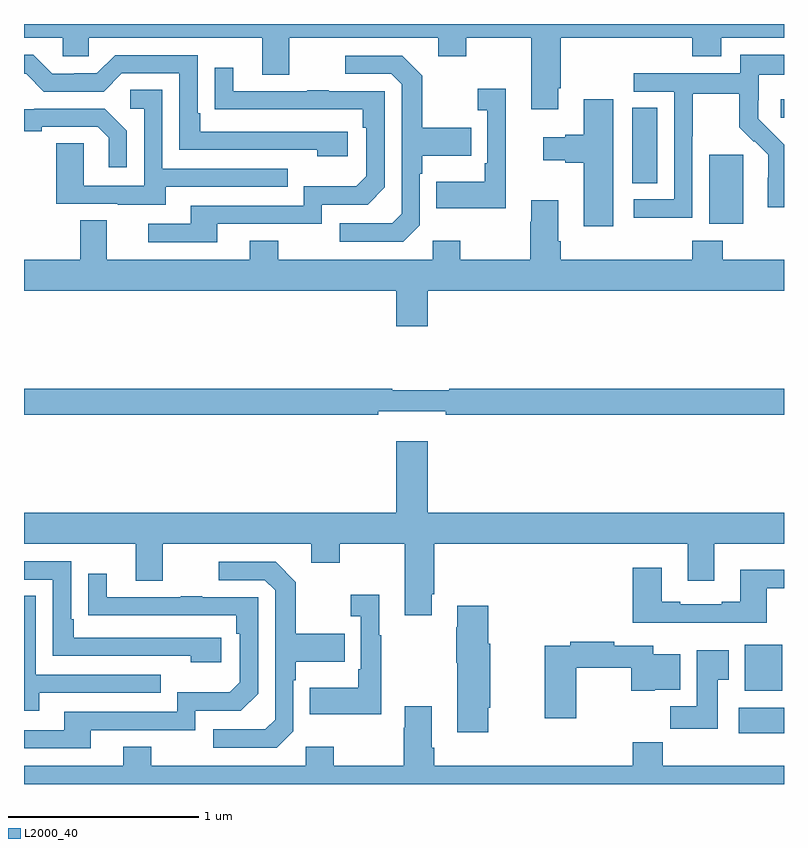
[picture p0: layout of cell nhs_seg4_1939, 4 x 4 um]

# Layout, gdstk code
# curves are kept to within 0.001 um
import gdstk
lib = gdstk.Library(unit=1e-6, precision=1e-09)
def R(c, l, rs):  # rectangles x0, y0, x1, y1
    for r in rs: c.add(gdstk.rectangle(r[:2], r[2:], *l))
def P(c, l, *ps):  # polygons
    for p in ps: c.add(gdstk.Polygon(p, *l))
L2000_40 = (2000, 40)

nhs_seg4_1939 = lib.new_cell('nhs_seg4_1939')
R(nhs_seg4_1939, L2000_40, [(214.761,785.168,215,785.302), (214.793,785.39,214.99,785.632), (214.607,787.85,214.786,788.211), (214.202,788.062,214.333,788.459), (214.983,788.406,215,788.503)])
P(nhs_seg4_1939, L2000_40, [(211,788.828),(211.203,788.828),(211.203,788.73),(211.341,788.73),(211.341,788.828),(212.255,788.828),(212.255,788.634),(212.395,788.634),(212.395,788.828),(213.179,788.828),(213.179,788.729),(213.327,788.729),(213.327,788.828),(213.671,788.828),(213.671,788.451),(213.811,788.451),(213.811,788.563),(213.824,788.563),(213.824,788.828),(214.517,788.828),(214.517,788.729),(214.669,788.729),(214.669,788.828),(215,788.828),(215,788.9),(211,788.9)],
  [(214.518,788.308),(214.521,788.308),(214.521,788.532),(214.765,788.532),(214.765,788.357),(214.842,788.28),(214.845,788.283),(214.916,788.213),(214.916,788.09),(214.914,788.09),(214.914,787.936),(215,787.936),(215,788.264),(214.864,788.402),(214.864,788.499),(214.866,788.499),(214.866,788.633),(215,788.633),(215,788.737),(214.77,788.737),(214.77,788.64),(214.209,788.64),(214.209,788.544),(214.422,788.544),(214.422,787.977),(214.209,787.977),(214.209,787.879),(214.518,787.879)],
  [(212.704,788.334),(211.927,788.334),(211.927,788.431),(211.914,788.431),(211.914,788.736),(211.479,788.736),(211.383,788.64),(211.265,788.64),(211.265,788.637),(211.149,788.637),(211.049,788.737),(211,788.737),(211,788.637),(211.011,788.637),(211.104,788.544),(211.419,788.544),(211.515,788.64),(211.818,788.64),(211.818,788.238),(212.543,788.238),(212.543,788.204),(212.704,788.204)],
  [(213.084,787.842),(213.084,788.111),(213.097,788.111),(213.097,788.207),(213.353,788.207),(213.353,788.355),(213.097,788.355),(213.097,788.627),(212.991,788.733),(212.691,788.733),(212.691,788.637),(212.934,788.637),(212.988,788.583),(212.988,787.902),(212.937,787.851),(212.661,787.851),(212.661,787.755),(212.997,787.755)],
  [(212.017,787.848),(212.568,787.848),(212.568,787.95),(212.808,787.95),(212.898,788.04),(212.898,788.547),(212.603,788.547),(212.603,788.552),(212.491,788.552),(212.491,788.547),(212.101,788.547),(212.101,788.671),(212.005,788.671),(212.005,788.452),(212.782,788.451),(212.782,788.354),(212.802,788.354),(212.802,788.1),(212.749,788.047),(212.472,788.047),(212.472,787.944),(211.877,787.944),(211.877,787.848),(211.653,787.848),(211.653,787.752),(212.017,787.752)],
  [(213.536,788.56),(213.387,788.56),(213.387,788.447),(213.438,788.447),(213.438,788.167),(213.426,788.167),(213.426,788.071),(213.169,788.071),(213.169,787.931),(213.536,787.931)],
  [(211.747,788.043),(212.387,788.043),(212.387,788.139),(211.728,788.139),(211.728,788.555),(211.56,788.555),(211.56,788.454),(211.632,788.454),(211.632,788.049),(211.314,788.049),(211.314,788.273),(211.169,788.273),(211.169,787.953),(211.493,787.953),(211.493,787.949),(211.747,787.949)],
  [(214.102,788.503),(213.947,788.503),(213.947,788.318),(213.848,788.318),(213.848,788.305),(213.732,788.305),(213.732,788.183),(213.848,788.183),(213.848,788.171),(213.947,788.171),(213.947,787.836),(214.102,787.836)],
  [(211.542,788.338),(211.426,788.454),(211.054,788.454),(211.054,788.451),(211,788.451),(211,788.336),(211.093,788.336),(211.093,788.358),(211.388,788.358),(211.445,788.301),(211.445,788.145),(211.542,788.145)],
  [(213.124,787.496),(215,787.496),(215,787.66),(214.677,787.66),(214.677,787.759),(214.517,787.759),(214.517,787.66),(213.824,787.66),(213.824,787.756),(213.811,787.756),(213.811,787.972),(213.671,787.972),(213.671,787.859),(213.664,787.859),(213.664,787.66),(213.297,787.66),(213.297,787.759),(213.15,787.759),(213.15,787.66),(212.337,787.66),(212.337,787.759),(212.189,787.759),(212.189,787.66),(211.435,787.66),(211.435,787.868),(211.295,787.868),(211.295,787.66),(211,787.66),(211,787.496),(212.96,787.496),(212.96,787.308),(213.124,787.308)],
  [(212.864,786.863),(213.22,786.863),(213.22,786.844),(215,786.844),(215,786.98),(213.238,786.98),(213.238,786.973),(212.938,786.973),(212.938,786.98),(211,786.98),(211,786.844),(212.864,786.844)],
  [(213.145,785.899),(213.158,785.899),(213.158,786.164),(214.493,786.164),(214.493,785.97),(214.633,785.97),(214.633,786.164),(215,786.164),(215,786.328),(213.124,786.328),(213.124,786.703),(212.96,786.703),(212.96,786.328),(211,786.328),(211,786.164),(211.589,786.164),(211.589,785.97),(211.729,785.97),(211.729,786.164),(212.513,786.164),(212.513,786.065),(212.661,786.065),(212.661,786.164),(213.005,786.164),(213.005,785.787),(213.145,785.787)],
  [(212.038,785.67),(211.261,785.67),(211.261,785.767),(211.248,785.767),(211.248,786.072),(211,786.072),(211,785.976),(211.152,785.976),(211.152,785.574),(211.877,785.574),(211.877,785.54),(212.038,785.54)],
  [(212.418,785.178),(212.418,785.447),(212.431,785.447),(212.431,785.543),(212.687,785.543),(212.687,785.691),(212.431,785.691),(212.431,785.963),(212.325,786.069),(212.025,786.069),(212.025,785.973),(212.268,785.973),(212.322,785.919),(212.322,785.238),(212.271,785.187),(211.995,785.187),(211.995,785.091),(212.331,785.091)],
  [(214.909,785.931),(215,785.931),(215,786.028),(214.769,786.028),(214.769,785.86),(214.673,785.86),(214.673,785.847),(214.453,785.847),(214.453,785.86),(214.357,785.86),(214.357,786.037),(214.205,786.037),(214.205,785.75),(214.909,785.75)],
  [(211.351,785.184),(211.902,785.184),(211.902,785.286),(212.142,785.286),(212.232,785.376),(212.232,785.883),(211.937,785.883),(211.937,785.888),(211.825,785.888),(211.825,785.883),(211.435,785.883),(211.435,786.007),(211.339,786.007),(211.339,785.788),(212.116,785.787),(212.116,785.69),(212.136,785.69),(212.136,785.436),(212.083,785.383),(211.806,785.383),(211.806,785.28),(211.211,785.28),(211.211,785.184),(211,785.184),(211,785.088),(211.351,785.088)],
  [(212.881,785.683),(212.869,785.683),(212.869,785.896),(212.721,785.896),(212.721,785.783),(212.772,785.783),(212.772,785.503),(212.76,785.503),(212.76,785.407),(212.503,785.407),(212.503,785.267),(212.881,785.267)],
  [(211.081,785.379),(211.721,785.379),(211.721,785.475),(211.062,785.475),(211.062,785.891),(211,785.891),(211,785.285),(211.081,785.285)],
  [(213.444,785.301),(213.454,785.301),(213.454,785.637),(213.444,785.637),(213.444,785.839),(213.281,785.839),(213.281,785.726),(213.274,785.726),(213.274,785.537),(213.281,785.537),(213.281,785.172),(213.444,785.172)],
  [(213.906,785.512),(214.195,785.512),(214.195,785.39),(214.32,785.39),(214.32,785.396),(214.453,785.396),(214.453,785.584),(214.312,785.584),(214.312,785.628),(214.106,785.628),(214.106,785.648),(213.874,785.648),(213.874,785.628),(213.74,785.628),(213.74,785.247),(213.906,785.247)],
  [(214.651,785.449),(214.708,785.449),(214.708,785.605),(214.541,785.605),(214.541,785.308),(214.402,785.308),(214.402,785.19),(214.651,785.19)],
  [(215,784.996),(214.361,784.996),(214.361,785.12),(214.205,785.12),(214.205,784.996),(213.158,784.996),(213.158,785.092),(213.145,785.092),(213.145,785.308),(213.005,785.308),(213.005,785.195),(212.998,785.195),(212.998,784.996),(212.631,784.996),(212.631,785.095),(212.484,785.095),(212.484,784.996),(211.671,784.996),(211.671,785.095),(211.523,785.095),(211.523,784.996),(211,784.996),(211,784.9),(215,784.9)])

lib.write_gds('nhs_seg4_1939.gds')
